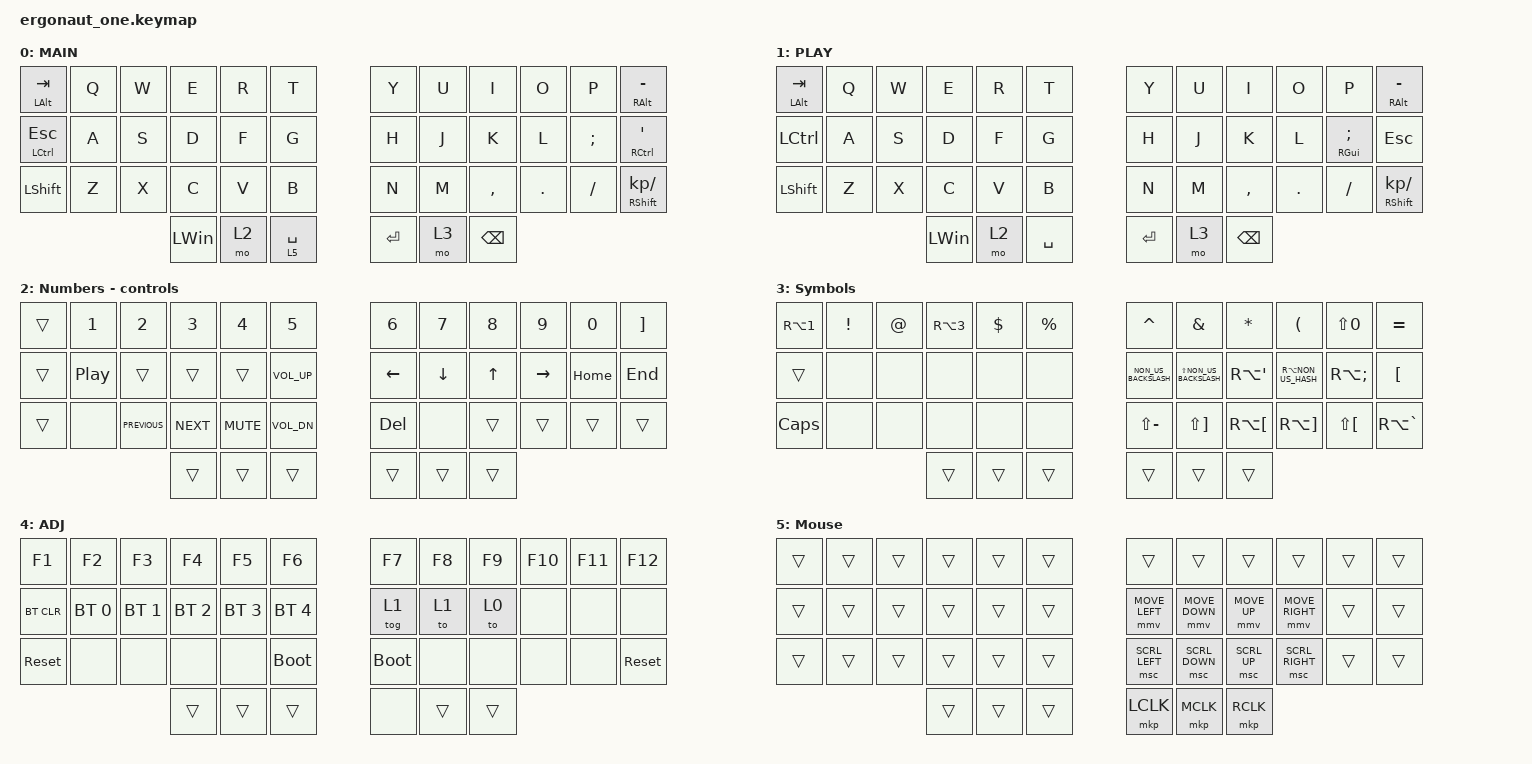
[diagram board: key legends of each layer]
#define ZMK_POINTING_DEFAULT_SCRL_VAL 40    // default: 10

#include <behaviors.dtsi>
#include <dt-bindings/zmk/bt.h>
#include <dt-bindings/zmk/keys.h>
#include <dt-bindings/zmk/pointing.h>

#define DEF 0
#define LWR 1
#define RSE 2
#define ADJ 3

&lt { quick-tap-ms = <200>; };

&mt {
    quick-tap-ms = <200>;
    flavor = "tap-preferred";
};

&msc {
    acceleration-exponent = <100>;
    time-to-max-speed-ms = <0>;
};

/ {
    conditional_layers {
        compatible = "zmk,conditional-layers";

        tri-layer {
            if-layers = <2 3>;
            then-layer = <4>;
        };
    };

    behaviors {
        hold_tap: hold_tap {
            compatible = "zmk,behavior-hold-tap";
            label = "HOLD_TAP";
            bindings = <&kp>, <&kp>;

            #binding-cells = <2>;
            tapping-term-ms = <120>;
            flavor = "tap-preferred";
            retro-tap;
        };
    };

    keymap {
        compatible = "zmk,keymap";

        default_layer {
            display-name = "MAIN";
            bindings = <
&mt LEFT_ALT TAB  &kp Q  &kp W  &kp E         &kp R  &kp T        &kp Y      &kp U  &kp I          &kp O    &kp P          &mt RIGHT_ALT MINUS
&mt LCTRL ESCAPE  &kp A  &kp S  &kp D         &kp F  &kp G        &kp H      &kp J  &kp K          &kp L    &kp SEMICOLON  &mt RCTRL SQT
&kp LEFT_SHIFT    &kp Z  &kp X  &kp C         &kp V  &kp B        &kp N      &kp M  &kp COMMA      &kp DOT  &kp FSLH       &hold_tap RIGHT_SHIFT KP_DIVIDE
                                &kp LEFT_WIN  &mo 2  &lt 5 SPACE  &kp ENTER  &mo 3  &kp BACKSPACE
            >;
        };

        PLAY {
            display-name = "PLAY";
            bindings = <
&mt LEFT_ALT TAB  &kp Q  &kp W  &kp E         &kp R  &kp T      &kp Y      &kp U  &kp I          &kp O    &kp P               &mt RIGHT_ALT MINUS
&kp LCTRL         &kp A  &kp S  &kp D         &kp F  &kp G      &kp H      &kp J  &kp K          &kp L    &mt RIGHT_GUI SEMI  &kp ESCAPE
&kp LEFT_SHIFT    &kp Z  &kp X  &kp C         &kp V  &kp B      &kp N      &kp M  &kp COMMA      &kp DOT  &kp FSLH            &hold_tap RIGHT_SHIFT KP_DIVIDE
                                &kp LEFT_WIN  &mo 2  &kp SPACE  &kp ENTER  &mo 3  &kp BACKSPACE
            >;
        };

        lower_layer {
            display-name = "Numbers - controls";
            bindings = <
&trans  &kp NUMBER_1      &kp NUMBER_2    &kp NUMBER_3  &kp NUMBER_4  &kp NUMBER_5     &kp NUMBER_6  &kp NUMBER_7  &kp NUMBER_8  &kp NUMBER_9  &kp NUMBER_0  &kp RIGHT_BRACKET
&trans  &kp C_PLAY_PAUSE  &trans          &trans        &trans        &kp C_VOLUME_UP  &kp LEFT      &kp DOWN      &kp UP        &kp RIGHT     &kp HOME      &kp END
&trans  &none             &kp C_PREVIOUS  &kp C_NEXT    &kp K_MUTE    &kp C_VOL_DN     &kp DELETE    &none         &trans        &trans        &trans        &trans
                                          &trans        &trans        &trans           &trans        &trans        &trans
            >;
        };

        raise_layer {
            display-name = "Symbols";
            bindings = <
&kp RA(NUMBER_1)  &kp EXCLAMATION  &kp AT  &kp RA(NUMBER_3)  &kp DOLLAR  &kp PERCENT  &kp CARET             &kp AMPERSAND             &kp ASTERISK          &kp LEFT_PARENTHESIS   &kp LS(N0)            &kp EQUAL
&trans            &none            &none   &none             &none       &none        &kp NON_US_BACKSLASH  &kp LS(NON_US_BACKSLASH)  &kp RA(SINGLE_QUOTE)  &kp RA(NON_US_HASH)    &kp RA(SEMICOLON)     &kp LEFT_BRACKET
&kp CAPSLOCK      &none            &none   &none             &none       &none        &kp LS(MINUS)         &kp LS(RIGHT_BRACKET)     &kp RA(LEFT_BRACKET)  &kp RA(RIGHT_BRACKET)  &kp LS(LEFT_BRACKET)  &kp RA(GRAVE)
                                           &trans            &trans      &trans       &trans                &trans                    &trans
            >;
        };

        adjust_layer {
            display-name = "ADJ";
            bindings = <
&kp F1      &kp F2        &kp F3        &kp F4        &kp F5        &kp F6        &kp F7       &kp F8  &kp F9  &kp F10  &kp F11  &kp F12
&bt BT_CLR  &bt BT_SEL 0  &bt BT_SEL 1  &bt BT_SEL 2  &bt BT_SEL 3  &bt BT_SEL 4  &tog 1       &to 1   &to 0   &none    &none    &none
&sys_reset  &none         &none         &none         &none         &bootloader   &bootloader  &none   &none   &none    &none    &sys_reset
                                        &trans        &trans        &trans        &none        &trans  &trans
            >;
        };

        Mouse {
            bindings = <
&trans  &trans  &trans  &trans  &trans  &trans  &trans          &trans          &trans        &trans           &trans  &trans
&trans  &trans  &trans  &trans  &trans  &trans  &mmv MOVE_LEFT  &mmv MOVE_DOWN  &mmv MOVE_UP  &mmv MOVE_RIGHT  &trans  &trans
&trans  &trans  &trans  &trans  &trans  &trans  &msc SCRL_LEFT  &msc SCRL_DOWN  &msc SCRL_UP  &msc SCRL_RIGHT  &trans  &trans
                        &trans  &trans  &trans  &mkp LCLK       &mkp MCLK       &mkp RCLK
            >;
        };
    };
};
